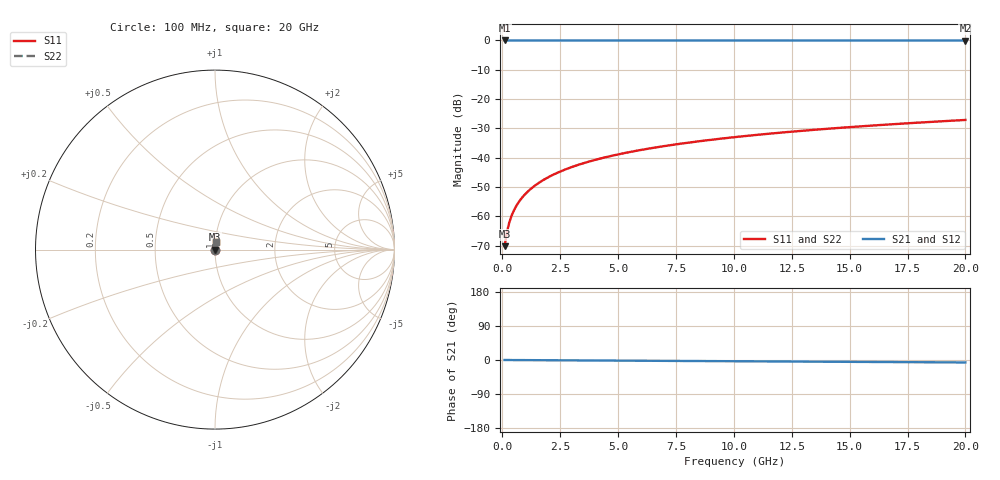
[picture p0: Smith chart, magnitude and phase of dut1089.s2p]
! Touchstone file exported from HFSS 2026.1.0
!  File:  C:/ffzhzh/LocalFiles/Ansys_Project_Files/temp_train_TSV_1089_1783190282_22436.aedt
!  Generated:  02:39:33 AM Jul  5, 2026
!  Design:  TSV
!  Project:  temp_train_TSV_1089_1783190282_22436
! Variables:
!  h_bsmrdl = 2um
!  h_ox = 20um
!  h_rdl = 5um
!  h_sub = 54.29um
!  h_tmrdl = 5um
!  h_tsv = 54.29um
!  h_via = 3um
!  l_bsmrdl = 300um
!  l_sub = 413.22um
!  l_tmrdl = 200um
!  m_sub = 200um
!  pitch = 45.19um
!  r_tsv = 6.61um
!  s_tmrdl = 10um
!  w_bsmrdl = 18um
!  w_sub = 500um
!  w_tmrdl = 12um
!  x_tsv_center1 = 206um
!  x_tsv_center2 = 524um
!  x_tsv_center3 = 736um
!  x_tsv_center4 = 1054um
!  x_tsv_center5 = 1266um
!  x_tsv_center6 = 1584um
# GHz S MA R 50.000000
! Terminal data exported
! Port[1] = TSV1_1_T1
! Port[2] = TSV1_1_T2
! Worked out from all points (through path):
!   200 points, 100 MHz to 20 GHz, reference 50 ohm
!   highest |S21| = 0.00 dB at 100 MHz (marker M1); lowest = 0.0 dB at 20 GHz (marker M2)
!   lowest |S11| = -70.2 dB at 100 MHz (marker M3), VSWR 1.00, Z = 50 + j0.0254 ohm
!   |S11| at or under -10 dB: start of sweep to end of sweep
!   |S22| runs from -70.2 to -27.1 dB; largest |S21 - S12| = 2.5e-15
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0.1  0.0003103 55.0  0.9998 -0.0  0.9998 -0.0  0.0003103 55.0
! Gamma 0 0 0 0
! Port Impedance 50 0 50 0
0.2  0.0005397 69.7  0.9998 -0.1  0.9998 -0.1  0.0005397 69.7
0.3  0.0007809 75.1  0.9998 -0.1  0.9998 -0.1  0.0007809 75.1
0.4  0.001022 77.7  0.9998 -0.1  0.9998 -0.1  0.001022 77.7
0.5  0.001261 79.2  0.9998 -0.2  0.9998 -0.2  0.001261 79.2
0.6  0.001497 80.2  0.9998 -0.2  0.9998 -0.2  0.001497 80.2
0.7  0.00173 81.0  0.9997 -0.2  0.9997 -0.2  0.00173 81.0
0.8  0.001961 81.5  0.9997 -0.3  0.9997 -0.3  0.001961 81.5
1  0.002419 82.4  0.9997 -0.3  0.9997 -0.3  0.002419 82.4
1.4  0.003327 83.5  0.9996 -0.5  0.9996 -0.5  0.003327 83.5
1.7  0.004005 84.1  0.9996 -0.6  0.9996 -0.6  0.004005 84.1
2  0.004682 84.5  0.9996 -0.7  0.9996 -0.7  0.004682 84.5
2.7  0.00626 85.0  0.9995 -0.9  0.9995 -0.9  0.00626 85.0
3.5  0.008054 85.2  0.9995 -1.2  0.9995 -1.2  0.008054 85.2
4.2  0.009616 85.3  0.9994 -1.4  0.9994 -1.4  0.009616 85.3
5  0.01139 85.3  0.9993 -1.6  0.9993 -1.6  0.01139 85.3
6.8  0.01536 85.1  0.9992 -2.2  0.9992 -2.2  0.01536 85.1
8.3  0.01866 84.8  0.999 -2.7  0.999 -2.7  0.01866 84.8
10.1  0.02259 84.5  0.9989 -3.3  0.9989 -3.3  0.02259 84.5
13.4  0.02979 83.7  0.9986 -4.4  0.9986 -4.4  0.02979 83.7
16.7  0.03695 82.8  0.9982 -5.4  0.9982 -5.4  0.03695 82.8
20  0.04407 81.9  0.9978 -6.5  0.9978 -6.5  0.04407 81.9
